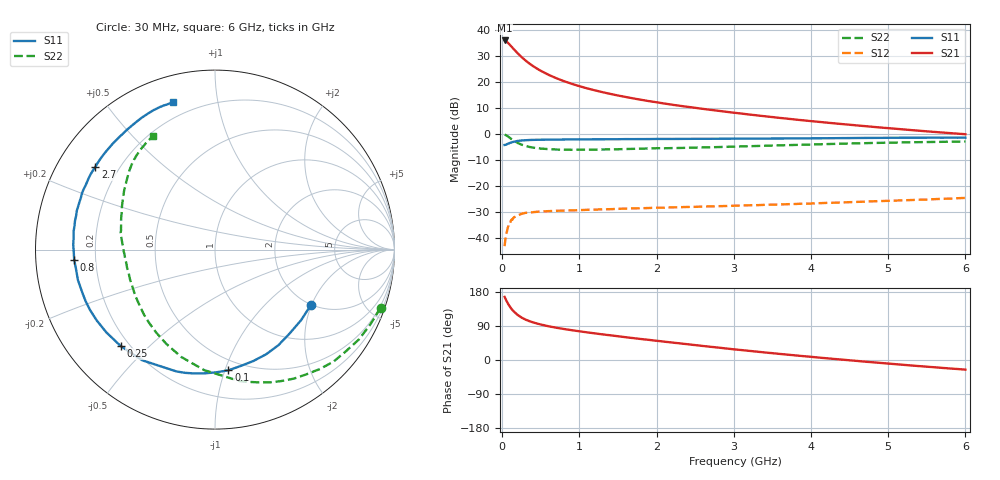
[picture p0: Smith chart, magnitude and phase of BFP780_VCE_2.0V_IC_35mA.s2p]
! Infineon Technologies  Discrete & RF Semiconductors
! BFP780
! VCE =  2.0 V,  IC =  35 mA
! Common Emitter S-Parameters:  Jul 2015
# GHz  S  MA  R  50
!  f  S11  S21  S12  S22
! GHz  MAG  ANG  MAG  ANG  MAG  ANG  MAG  ANG
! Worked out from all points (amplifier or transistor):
!   75 points, 30 MHz to 6 GHz, reference 50 ohm
!   highest |S21| = 36.0 dB at 30 MHz (marker M1)
!   |S21| within 3 dB of that: start of sweep to 138.4 MHz
!   unconditionally stable (mu >= 1): 2.157 GHz to end of sweep
!   at 150 MHz: K = 0.11, MSG = 32.3 dB, |S12| = -32.0 dB
!   at 2.3 GHz: K = 1.05, MAG = 18.2 dB, |S12| = -28.1 dB
!   at 6 GHz: K = 1.44, MAG = 8.3 dB, |S12| = -24.6 dB
!   S11 on the Smith chart (normalised r, x): 30 MHz: 1.97, -1.98; 100 MHz: 0.41, -1.03; 250 MHz: 0.17, -0.41; 800 MHz: 0.12, -0.04; 2.7 GHz: 0.11, +0.31; 6 GHz: 0.13, +0.75
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0.03  0.6169 -30.2  62.98 166.6  0.007 72.9  0.978 -19.4
0.05  0.6258 -48.5  60.48 157.8  0.0115 63.8  0.9451 -32.0
0.06  0.639 -56.4  58.9 154.1  0.0134 64.4  0.9239 -37.7
0.08  0.6566 -71.1  55.34 146.7  0.0172 58.5  0.8855 -48.7
0.1  0.6768 -83.7  51.48 140.5  0.019 54.9  0.8429 -58.5
0.12  0.6913 -94.5  47.8 134.8  0.0227 49.8  0.7998 -67.7
0.15  0.712 -107.5  42.72 127.8  0.025 43.1  0.7456 -79.3
0.2  0.7379 -123.3  35.6 118.8  0.0273 34.9  0.6742 -95.1
0.25  0.7517 -134.4  30.21 112.0  0.0293 29.9  0.6268 -107.5
0.3  0.761 -142.7  26 106.8  0.0306 26.1  0.5909 -117.4
0.35  0.7682 -149.1  22.75 102.6  0.0309 23.8  0.5663 -125.4
0.45  0.7759 -158.2  18.1 96.2  0.0321 20.3  0.5368 -137.4
0.6  0.7823 -167.5  13.77 89.0  0.033 16.8  0.5133 -149.8
0.8  0.7866 -175.9  10.39 81.8  0.0338 15.2  0.5017 -160.7
1.1  0.7901 175.2  7.545 72.9  0.035 14.3  0.4998 -171.5
1.5  0.7963 166.3  5.507 62.7  0.0365 14.2  0.5107 179.0
2.1  0.8054 155.3  3.862 48.4  0.0384 13.6  0.5338 168.7
2.7  0.8105 145.4  2.918 34.8  0.0406 13.5  0.5573 159.1
3.1  0.8162 139.2  2.473 26.2  0.0424 13.4  0.5788 153.0
4.1  0.8298 125.1  1.717 6.4  0.0469 12.8  0.6353 139.9
5.1  0.8492 113.9  1.263 -11.1  0.0527 10.9  0.6866 128.7
6  0.8521 105.8  0.992 -25.4  0.0592 7.7  0.7202 118.8
